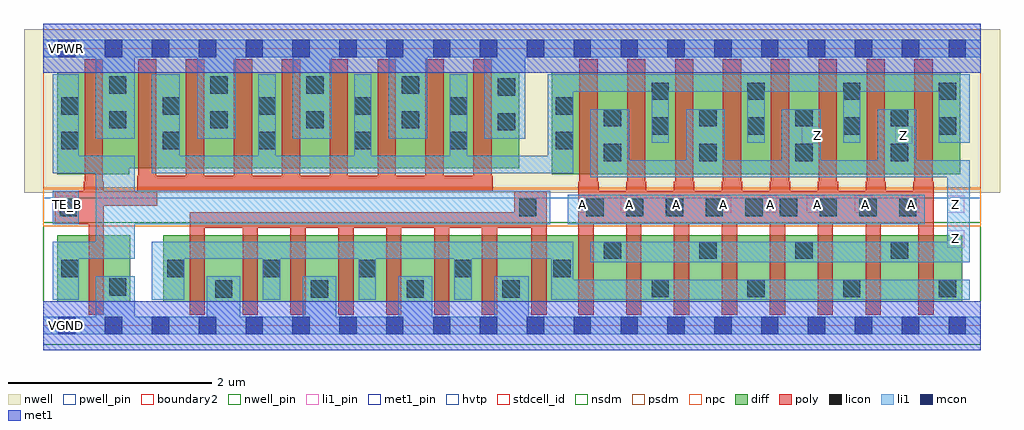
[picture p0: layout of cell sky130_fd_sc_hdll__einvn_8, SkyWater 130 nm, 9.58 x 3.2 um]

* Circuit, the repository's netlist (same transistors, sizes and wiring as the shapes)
* Copyright 2020 The SkyWater PDK Authors
*
* Licensed under the Apache License, Version 2.0 (the "License");
* you may not use this file except in compliance with the License.
* You may obtain a copy of the License at
*
*     https://www.apache.org/licenses/LICENSE-2.0
*
* Unless required by applicable law or agreed to in writing, software
* distributed under the License is distributed on an "AS IS" BASIS,
* WITHOUT WARRANTIES OR CONDITIONS OF ANY KIND, either express or implied.
* See the License for the specific language governing permissions and
* limitations under the License.
*
* SPDX-License-Identifier: Apache-2.0

.SUBCKT sky130_fd_sc_hdll__einvn_8 A TE_B VGND VNB VPB VPWR Z
*.PININFO A:I TE_B:I VGND:I VNB:I VPB:I VPWR:I Z:O
MMN0 Z A sndA VNB sky130_fd_pr__nfet_01v8 m=8 w=0.65U l=0.15U mult=1 sa=0.265 sb=0.265
+ sd=0.28 area=0.063 perim=1.14
MMN1 sndA TE VGND VNB sky130_fd_pr__nfet_01v8 m=8 w=0.65U l=0.15U mult=1 sa=0.265
+ sb=0.265 sd=0.28 area=0.063 perim=1.14
MMIN1 TE TE_B VGND VNB sky130_fd_pr__nfet_01v8 m=1 w=0.65U l=0.15U mult=1 sa=0.265
+ sb=0.265 sd=0.28 area=0.063 perim=1.14
MMP0 VPWR TE_B sndTEB VPB sky130_fd_pr__pfet_01v8_hvt m=8 w=0.94U l=0.18U mult=1
+ sa=0.265 sb=0.265 sd=0.28 area=0.063 perim=1.14
MMP1 sndTEB A Z VPB sky130_fd_pr__pfet_01v8_hvt m=8 w=1.0U l=0.18U mult=1 sa=0.265
+ sb=0.265 sd=0.28 area=0.063 perim=1.14
MMIP1 TE TE_B VPWR VPB sky130_fd_pr__pfet_01v8_hvt m=1 w=1.0U l=0.18U mult=1 sa=0.265
+ sb=0.265 sd=0.28 area=0.063 perim=1.14
.ENDS sky130_fd_sc_hdll__einvn_8

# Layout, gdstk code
import gdstk
lib = gdstk.Library(unit=1e-6, precision=1e-09)
def R(c, l, rs):  # rectangles x0, y0, x1, y1
    for r in rs: c.add(gdstk.rectangle(r[:2], r[2:], *l))
def A(c, l, x, y, w, h, nx, ny, dx, dy):  # array of equal rectangles
    R(c, l, [(x+i*dx, y+j*dy, x+i*dx+w, y+j*dy+h) for i in range(nx) for j in range(ny)])
def P(c, l, *ps):  # polygons
    for p in ps: c.add(gdstk.Polygon(p, *l))
nwell_pin = (64, 16)
nwell = (64, 20)
diff = (65, 20)
poly = (66, 20)
licon = (66, 44)
li1_pin = (67, 16)
li1 = (67, 20)
mcon = (67, 44)
met1_pin = (68, 16)
met1 = (68, 20)
hvtp = (78, 44)
stdcell_id = (81, 4)
nsdm = (93, 44)
psdm = (94, 20)
npc = (95, 20)
pwell_pin = (122, 16)
boundary2 = (236, 0)

sky130_fd_sc_hdll__einvn = lib.new_cell('sky130_fd_sc_hdll__einvn_8')
R(sky130_fd_sc_hdll__einvn, nwell_pin, [(0.15,2.635,0.32,2.805)])
R(sky130_fd_sc_hdll__einvn, nwell, [(-0.19,1.305,9.39,2.91)])
R(sky130_fd_sc_hdll__einvn, diff, [(0.135,0.235,0.855,0.885), (1.175,0.235,9.02,0.885), (4.99,1.485,9,2.485)])
P(sky130_fd_sc_hdll__einvn, diff, [(4.67,2.485),(0.135,2.485),(0.135,1.485),(0.845,1.485),(0.845,1.545),(4.67,1.545)])
P(sky130_fd_sc_hdll__einvn, poly, [(4.41,1.47),(4.4,1.47),(4.4,2.615),(4.22,2.615),(4.22,1.47),(3.93,1.47),(3.93,2.615),(3.75,2.615),(3.75,1.47),(3.46,1.47),(3.46,2.615),(3.28,2.615),(3.28,1.47),(2.99,1.47),(2.99,2.615),(2.81,2.615),(2.81,1.47),(2.52,1.47),(2.52,2.615),(2.34,2.615),(2.34,1.47),(2.05,1.47),(2.05,2.615),(1.87,2.615),(1.87,1.47),(1.58,1.47),(1.58,2.615),(1.4,2.615),(1.4,1.47),(1.11,1.47),(1.11,2.615),(0.93,2.615),(0.93,1.47),(0.92,1.47),(0.92,1.325),(0.595,1.325),(0.595,1.41),(0.585,1.41),(0.585,2.615),(0.405,2.615),(0.405,1.41),(0.395,1.41),(0.395,1.325),(0.11,1.325),(0.11,0.995),(0.445,0.995),(0.445,0.105),(0.595,0.105),(0.595,1.175),(1.12,1.175),(1.12,1.32),(4.41,1.32)],
  [(4.94,1.325),(4.62,1.325),(4.62,1.11),(1.435,1.11),(1.435,0.105),(1.585,0.105),(1.585,0.96),(1.955,0.96),(1.955,0.105),(2.105,0.105),(2.105,0.96),(2.425,0.96),(2.425,0.105),(2.575,0.105),(2.575,0.96),(2.895,0.96),(2.895,0.105),(3.045,0.105),(3.045,0.96),(3.365,0.96),(3.365,0.105),(3.515,0.105),(3.515,0.96),(3.835,0.96),(3.835,0.105),(3.985,0.105),(3.985,0.96),(4.305,0.96),(4.305,0.105),(4.455,0.105),(4.455,0.96),(4.79,0.96),(4.79,0.105),(4.94,0.105)],
  [(8.74,1.41),(8.73,1.41),(8.73,2.615),(8.55,2.615),(8.55,1.41),(8.54,1.41),(8.54,1.325),(8.27,1.325),(8.27,1.41),(8.26,1.41),(8.26,2.615),(8.08,2.615),(8.08,1.41),(8.07,1.41),(8.07,1.325),(7.8,1.325),(7.8,1.41),(7.79,1.41),(7.79,2.615),(7.61,2.615),(7.61,1.41),(7.6,1.41),(7.6,1.325),(7.33,1.325),(7.33,1.41),(7.32,1.41),(7.32,2.615),(7.14,2.615),(7.14,1.41),(7.13,1.41),(7.13,1.325),(6.86,1.325),(6.86,1.41),(6.85,1.41),(6.85,2.615),(6.67,2.615),(6.67,1.41),(6.66,1.41),(6.66,1.325),(6.39,1.325),(6.39,1.41),(6.38,1.41),(6.38,2.615),(6.2,2.615),(6.2,1.41),(6.19,1.41),(6.19,1.325),(5.92,1.325),(5.92,1.41),(5.91,1.41),(5.91,2.615),(5.73,2.615),(5.73,1.41),(5.72,1.41),(5.72,1.325),(5.45,1.325),(5.45,1.41),(5.44,1.41),(5.44,2.615),(5.26,2.615),(5.26,1.41),(5.25,1.41),(5.25,0.105),(5.4,0.105),(5.4,0.995),(5.72,0.995),(5.72,0.105),(5.87,0.105),(5.87,0.995),(6.19,0.995),(6.19,0.105),(6.34,0.105),(6.34,0.995),(6.66,0.995),(6.66,0.105),(6.81,0.105),(6.81,0.995),(7.13,0.995),(7.13,0.105),(7.28,0.105),(7.28,0.995),(7.6,0.995),(7.6,0.105),(7.75,0.105),(7.75,0.995),(8.07,0.995),(8.07,0.105),(8.22,0.105),(8.22,0.995),(8.59,0.995),(8.59,0.105),(8.74,0.105)])
A(sky130_fd_sc_hdll__einvn, licon, 1.685, 0.275, 0.17, 0.17, 4, 1, 0.94, 0)
A(sky130_fd_sc_hdll__einvn, licon, 5.97, 0.28, 0.17, 0.17, 4, 2, 0.94, 1.595)
A(sky130_fd_sc_hdll__einvn, licon, 1.215, 0.475, 0.17, 0.17, 4, 1, 0.94, 0)
A(sky130_fd_sc_hdll__einvn, licon, 5.5, 0.655, 0.17, 0.17, 4, 2, 0.94, 0.96)
A(sky130_fd_sc_hdll__einvn, licon, 5.33, 1.075, 0.17, 0.17, 5, 1, 0.39, 0)
A(sky130_fd_sc_hdll__einvn, licon, 7.23, 1.075, 0.17, 0.17, 4, 1, 0.39, 0)
A(sky130_fd_sc_hdll__einvn, licon, 1.17, 1.73, 0.17, 0.17, 4, 2, 0.94, 0.34)
A(sky130_fd_sc_hdll__einvn, licon, 1.64, 1.935, 0.17, 0.17, 3, 2, 0.94, 0.34)
A(sky130_fd_sc_hdll__einvn, licon, 5.5, 1.955, 0.17, 0.17, 4, 1, 0.94, 0)
A(sky130_fd_sc_hdll__einvn, licon, 5.97, 2.215, 0.17, 0.17, 4, 1, 0.94, 0)
R(sky130_fd_sc_hdll__einvn, licon, [(0.645,0.295,0.815,0.465), (0.175,0.475,0.345,0.645), (5.005,0.475,5.175,0.645), (0.16,1.075,0.33,1.245), (4.67,1.075,4.84,1.245), (0.175,1.73,0.345,1.9), (5.03,1.73,5.2,1.9), (4.46,1.915,4.63,2.085), (0.645,1.935,0.815,2.105), (0.175,2.07,0.345,2.24), (5.03,2.07,5.2,2.24), (4.46,2.255,4.63,2.425), (0.645,2.275,0.815,2.445)])
R(sky130_fd_sc_hdll__einvn, li1_pin, [(8.87,0.765,9.04,0.935), (0.15,1.105,0.32,1.275), (5.25,1.105,5.42,1.275), (5.665,1.105,5.835,1.275), (6.115,1.105,6.285,1.275), (6.58,1.105,6.75,1.275), (7.03,1.105,7.2,1.275), (7.495,1.105,7.665,1.275), (7.965,1.105,8.135,1.275), (8.425,1.105,8.595,1.275), (8.87,1.105,9.04,1.275), (7.445,1.785,7.615,1.955), (8.36,1.785,8.53,1.955)])
R(sky130_fd_sc_hdll__einvn, li1, [(0.09,0.995,0.345,1.325), (5.145,0.995,8.65,1.285)])
P(sky130_fd_sc_hdll__einvn, li1, [(4.975,1.325),(0.895,1.325),(0.895,1.665),(0.345,1.665),(0.345,2.465),(0.09,2.465),(0.09,1.495),(0.515,1.495),(0.515,0.825),(0.09,0.825),(0.09,0.255),(0.345,0.255),(0.345,0.655),(0.895,0.655),(0.895,0.995),(4.975,0.995)],
  [(9.095,2.465),(4.95,2.465),(4.95,1.665),(4.16,1.665),(4.16,2.465),(3.99,2.465),(3.99,1.665),(3.22,1.665),(3.22,2.465),(3.05,2.465),(3.05,1.665),(2.28,1.665),(2.28,2.465),(2.11,2.465),(2.11,1.665),(1.34,1.665),(1.34,2.465),(1.065,2.465),(1.065,1.495),(5.2,1.495),(5.2,2.295),(5.97,2.295),(5.97,1.795),(6.14,1.795),(6.14,2.295),(6.91,2.295),(6.91,1.795),(7.08,1.795),(7.08,2.295),(7.85,2.295),(7.85,1.795),(8.02,1.795),(8.02,2.295),(8.79,2.295),(8.79,1.795),(9.095,1.795)],
  [(9.095,1.625),(8.57,1.625),(8.57,2.125),(8.19,2.125),(8.19,1.625),(7.63,1.625),(7.63,2.125),(7.25,2.125),(7.25,1.625),(6.69,1.625),(6.69,2.125),(6.31,2.125),(6.31,1.625),(5.75,1.625),(5.75,2.125),(5.37,2.125),(5.37,1.455),(8.87,1.455),(8.87,0.825),(5.37,0.825),(5.37,0.62),(9.095,0.62)],
  [(9.2,2.805),(0,2.805),(0,2.635),(0.515,2.635),(0.515,1.835),(0.895,1.835),(0.895,2.635),(1.51,2.635),(1.51,1.835),(1.89,1.835),(1.89,2.635),(2.45,2.635),(2.45,1.835),(2.83,1.835),(2.83,2.635),(3.39,2.635),(3.39,1.835),(3.77,1.835),(3.77,2.635),(4.33,2.635),(4.33,1.835),(4.73,1.835),(4.73,2.635),(9.2,2.635)],
  [(9.095,0.45),(5.2,0.45),(5.2,0.825),(1.065,0.825),(1.065,0.255),(1.385,0.255),(1.385,0.655),(2.155,0.655),(2.155,0.255),(2.325,0.255),(2.325,0.655),(3.095,0.655),(3.095,0.255),(3.265,0.255),(3.265,0.655),(4.035,0.655),(4.035,0.255),(4.205,0.255),(4.205,0.655),(4.985,0.655),(4.985,0.255),(9.095,0.255)],
  [(9.2,0.085),(4.765,0.085),(4.765,0.485),(4.425,0.485),(4.425,0.085),(3.815,0.085),(3.815,0.485),(3.485,0.485),(3.485,0.085),(2.875,0.085),(2.875,0.485),(2.545,0.485),(2.545,0.085),(1.935,0.085),(1.935,0.485),(1.605,0.485),(1.605,0.085),(0.895,0.085),(0.895,0.485),(0.515,0.485),(0.515,0.085),(0,0.085),(0,-0.085),(9.2,-0.085)])
A(sky130_fd_sc_hdll__einvn, mcon, 0.145, -0.085, 0.17, 0.17, 20, 2, 0.46, 2.72)
R(sky130_fd_sc_hdll__einvn, met1_pin, [(0.15,-0.085,0.32,0.085), (0.15,2.635,0.32,2.805)])
R(sky130_fd_sc_hdll__einvn, met1, [(0,-0.24,9.2,0.24), (0,2.48,9.2,2.96)])
R(sky130_fd_sc_hdll__einvn, hvtp, [(0,1.25,9.2,2.72)])
R(sky130_fd_sc_hdll__einvn, stdcell_id, [(0,0,9.2,2.72)])
R(sky130_fd_sc_hdll__einvn, nsdm, [(0,-0.19,9.2,1.015)])
R(sky130_fd_sc_hdll__einvn, psdm, [(0,1.355,9.2,2.91)])
R(sky130_fd_sc_hdll__einvn, npc, [(0,0.975,9.2,1.345)])
R(sky130_fd_sc_hdll__einvn, pwell_pin, [(0.15,-0.085,0.32,0.085)])
R(sky130_fd_sc_hdll__einvn, boundary2, [(0,0,9.2,2.72)])
sky130_fd_sc_hdll__einvn.add(gdstk.Label('A', (6.675,1.19), layer=67, texttype=5))
sky130_fd_sc_hdll__einvn.add(gdstk.Label('TE_B', (0.235,1.19), layer=67, texttype=5))
sky130_fd_sc_hdll__einvn.add(gdstk.Label('A', (7.135,1.19), layer=67, texttype=5))
sky130_fd_sc_hdll__einvn.add(gdstk.Label('A', (7.595,1.19), layer=67, texttype=5))
sky130_fd_sc_hdll__einvn.add(gdstk.Label('Z', (8.44,1.87), layer=67, texttype=5))
sky130_fd_sc_hdll__einvn.add(gdstk.Label('Z', (7.595,1.87), layer=67, texttype=5))
sky130_fd_sc_hdll__einvn.add(gdstk.Label('Z', (8.955,0.85), layer=67, texttype=5))
sky130_fd_sc_hdll__einvn.add(gdstk.Label('Z', (8.955,1.19), layer=67, texttype=5))
sky130_fd_sc_hdll__einvn.add(gdstk.Label('A', (8.065,1.19), layer=67, texttype=5))
sky130_fd_sc_hdll__einvn.add(gdstk.Label('A', (5.295,1.19), layer=67, texttype=5))
sky130_fd_sc_hdll__einvn.add(gdstk.Label('A', (5.755,1.19), layer=67, texttype=5))
sky130_fd_sc_hdll__einvn.add(gdstk.Label('A', (6.215,1.19), layer=67, texttype=5))
sky130_fd_sc_hdll__einvn.add(gdstk.Label('A', (8.525,1.19), layer=67, texttype=5))
sky130_fd_sc_hdll__einvn.add(gdstk.Label('VGND', (0.23,0), layer=68, texttype=5))
sky130_fd_sc_hdll__einvn.add(gdstk.Label('VPWR', (0.23,2.72), layer=68, texttype=5))
sky130_fd_sc_hdll__einvn.add(gdstk.Label('VPB', (0.235,2.72), layer=64, texttype=5))
sky130_fd_sc_hdll__einvn.add(gdstk.Label('VNB', (0.235,0), layer=64, texttype=59))

lib.write_gds('sky130_fd_sc_hdll__einvn_8.gds')
